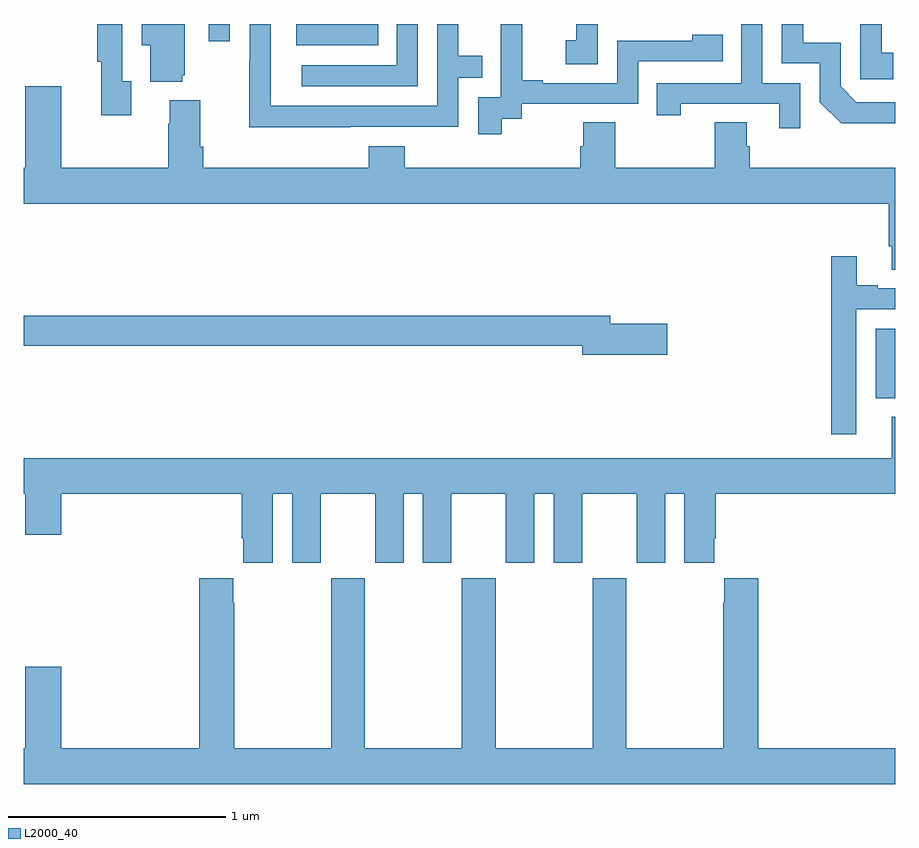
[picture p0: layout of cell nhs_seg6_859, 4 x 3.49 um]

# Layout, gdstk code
import gdstk
lib = gdstk.Library(unit=1e-6, precision=1e-09)
def R(c, l, rs):  # rectangles x0, y0, x1, y1
    for r in rs: c.add(gdstk.rectangle(r[:2], r[2:], *l))
def P(c, l, *ps):  # polygons
    for p in ps: c.add(gdstk.Polygon(p, *l))
L2000_40 = (2000, 40)

nhs_seg6_859 = lib.new_cell('nhs_seg6_859')
R(nhs_seg6_859, L2000_40, [(168.911,939.782,169,940.102), (166.25,941.402,166.628,941.5), (165.849,941.421,165.945,941.5)])
P(nhs_seg6_859, L2000_40, [(166.499,941.028),(166.995,941.028),(166.995,941.253),(167.105,941.253),(167.105,941.354),(166.995,941.354),(166.995,941.5),(166.899,941.5),(166.899,941.124),(166.134,941.124),(166.134,941.5),(166.038,941.5),(166.038,941.333),(166.036,941.333),(166.036,941.027),(166.499,941.027)],
  [(168.564,941.229),(168.39,941.229),(168.39,941.5),(168.294,941.5),(168.294,941.229),(167.905,941.229),(167.905,941.082),(168.016,941.082),(168.016,941.133),(168.467,941.133),(168.467,941.022),(168.564,941.022)],
  [(167.634,941.5),(167.536,941.5),(167.536,941.425),(167.487,941.425),(167.487,941.316),(167.634,941.316)],
  [(165.728,941.265),(165.739,941.265),(165.739,941.5),(165.542,941.5),(165.542,941.402),(165.581,941.402),(165.581,941.234),(165.728,941.234)],
  [(166.809,941.5),(166.713,941.5),(166.713,941.31),(166.275,941.31),(166.275,941.214),(166.809,941.214)],
  [(167.194,941.065),(167.286,941.065),(167.286,941.133),(167.82,941.133),(167.82,941.328),(168.209,941.328),(168.209,941.451),(168.069,941.451),(168.069,941.424),(167.724,941.424),(167.724,941.229),(167.383,941.229),(167.383,941.242),(167.288,941.242),(167.288,941.5),(167.189,941.5),(167.189,941.393),(167.19,941.393),(167.19,941.163),(167.085,941.163),(167.085,940.995),(167.194,940.995)],
  [(168.991,941.367),(168.938,941.367),(168.938,941.5),(168.84,941.5),(168.84,941.247),(168.991,941.247)],
  [(165.493,941.238),(165.453,941.238),(165.453,941.5),(165.337,941.5),(165.337,941.326),(165.356,941.326),(165.356,941.082),(165.493,941.082)],
  [(169,941.142),(168.822,941.142),(168.75,941.214),(168.75,941.415),(168.577,941.415),(168.577,941.5),(168.48,941.5),(168.48,941.319),(168.654,941.319),(168.654,941.142),(168.752,941.045),(169,941.045)],
  [(169,940.84),(168.332,940.84),(168.332,940.938),(168.319,940.938),(168.319,941.048),(168.172,941.048),(168.172,940.84),(167.715,940.84),(167.715,941.048),(167.567,941.048),(167.567,940.938),(167.555,940.938),(167.555,940.84),(166.748,940.84),(166.748,940.939),(166.583,940.939),(166.583,940.84),(165.824,940.84),(165.824,940.936),(165.811,940.936),(165.811,941.149),(165.671,941.149),(165.671,941.042),(165.664,941.042),(165.664,940.84),(165.172,940.84),(165.172,941.215),(165.008,941.215),(165.008,940.84),(165,940.84),(165,940.676),(168.971,940.676),(168.971,940.48),(168.983,940.48),(168.983,940.372),(169,940.372)],
  [(168.822,940.191),(169,940.191),(169,940.287),(168.919,940.287),(168.919,940.3),(168.823,940.3),(168.823,940.435),(168.706,940.435),(168.706,939.618),(168.822,939.618)],
  [(167.953,940.124),(167.692,940.124),(167.692,940.16),(165,940.16),(165,940.024),(167.564,940.024),(167.564,939.982),(167.953,939.982)],
  [(166.144,939.344),(166.232,939.344),(166.232,939.027),(166.363,939.027),(166.363,939.344),(166.613,939.344),(166.613,939.027),(166.744,939.027),(166.744,939.344),(166.832,939.344),(166.832,939.027),(166.963,939.027),(166.963,939.344),(167.213,939.344),(167.213,939.027),(167.344,939.027),(167.344,939.344),(167.432,939.344),(167.432,939.027),(167.563,939.027),(167.563,939.344),(167.813,939.344),(167.813,939.027),(167.944,939.027),(167.944,939.344),(168.032,939.344),(168.032,939.027),(168.169,939.027),(168.169,939.139),(168.176,939.139),(168.176,939.344),(169,939.344),(169,939.697),(168.983,939.697),(168.983,939.508),(165,939.508),(165,939.344),(165.008,939.344),(165.008,939.156),(165.172,939.156),(165.172,939.344),(166.001,939.344),(166.001,939.139),(166.007,939.139),(166.007,939.027),(166.144,939.027)],
  [(169,938.176),(168.371,938.176),(168.371,938.956),(168.215,938.956),(168.215,938.843),(168.211,938.843),(168.211,938.176),(167.766,938.176),(167.766,938.956),(167.611,938.956),(167.611,938.176),(167.166,938.176),(167.166,938.956),(167.011,938.956),(167.011,938.176),(166.566,938.176),(166.566,938.956),(166.411,938.956),(166.411,938.176),(165.966,938.176),(165.966,938.843),(165.961,938.843),(165.961,938.956),(165.806,938.956),(165.806,938.176),(165.172,938.176),(165.172,938.551),(165.008,938.551),(165.008,938.176),(165,938.176),(165,938.012),(169,938.012)])

lib.write_gds('nhs_seg6_859.gds')
